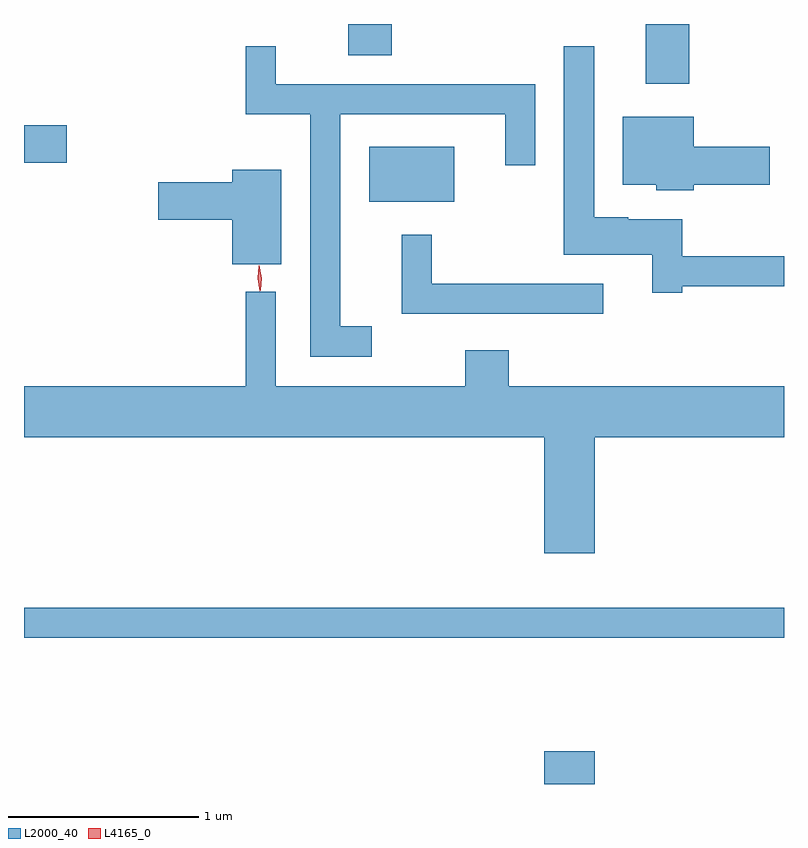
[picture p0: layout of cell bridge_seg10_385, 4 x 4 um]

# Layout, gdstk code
import gdstk
lib = gdstk.Library(unit=1e-6, precision=1e-09)
def R(c, l, rs):  # rectangles x0, y0, x1, y1
    for r in rs: c.add(gdstk.rectangle(r[:2], r[2:], *l))
def P(c, l, *ps):  # polygons
    for p in ps: c.add(gdstk.Polygon(p, *l))
L2000_40 = (2000, 40)
L4165_0 = (4165, 0)

bridge_seg10_385 = lib.new_cell('bridge_seg10_385')
R(bridge_seg10_385, L2000_40, [(1333.956,2143.171,1334.224,2143.344), (1331.219,2143.941,1335.219,2144.099), (1333.036,2146.236,1333.484,2146.524), (1331.219,2146.441,1331.444,2146.639), (1334.491,2146.856,1334.719,2147.171), (1332.926,2147.006,1333.154,2147.171)])
P(bridge_seg10_385, L2000_40, [(1334.684,2145.791),(1335.219,2145.791),(1335.219,2145.949),(1334.684,2145.949),(1334.684,2146.144),(1334.4,2146.144),(1334.4,2146.154),(1334.219,2146.154),(1334.219,2147.053),(1334.061,2147.053),(1334.061,2145.956),(1334.526,2145.956),(1334.526,2145.756),(1334.684,2145.756)],
  [(1333.048,2145.579),(1332.884,2145.579),(1332.884,2146.696),(1333.751,2146.696),(1333.751,2146.428),(1333.909,2146.428),(1333.909,2146.854),(1332.544,2146.854),(1332.544,2147.053),(1332.386,2147.053),(1332.386,2146.696),(1332.726,2146.696),(1332.726,2145.421),(1333.048,2145.421)],
  [(1334.744,2146.326),(1335.144,2146.326),(1335.144,2146.524),(1334.744,2146.524),(1334.744,2146.684),(1334.371,2146.684),(1334.371,2146.326),(1334.546,2146.326),(1334.546,2146.296),(1334.744,2146.296)],
  [(1332.574,2146.404),(1332.316,2146.404),(1332.316,2146.339),(1331.926,2146.339),(1331.926,2146.141),(1332.316,2146.141),(1332.316,2145.906),(1332.574,2145.906)],
  [(1334.268,2145.804),(1333.364,2145.804),(1333.364,2146.063),(1333.206,2146.063),(1333.206,2145.646),(1334.268,2145.646)],
  [(1334.224,2144.996),(1335.219,2144.996),(1335.219,2145.264),(1333.769,2145.264),(1333.769,2145.454),(1333.541,2145.454),(1333.541,2145.264),(1332.544,2145.264),(1332.544,2145.763),(1332.386,2145.763),(1332.386,2145.264),(1331.219,2145.264),(1331.219,2144.996),(1333.956,2144.996),(1333.956,2144.386),(1334.224,2144.386)])
P(bridge_seg10_385, L4165_0, [(1332.463,2145.768),(1332.463,2145.769),(1332.449,2145.833),(1332.455,2145.899),(1332.455,2145.899),(1332.456,2145.899),(1332.469,2145.834),(1332.464,2145.769)],
  [(1332.46,2145.765),(1332.46,2145.765),(1332.449,2145.833),(1332.457,2145.902),(1332.458,2145.902),(1332.458,2145.902),(1332.469,2145.834),(1332.461,2145.765)])

lib.write_gds('bridge_seg10_385.gds')
